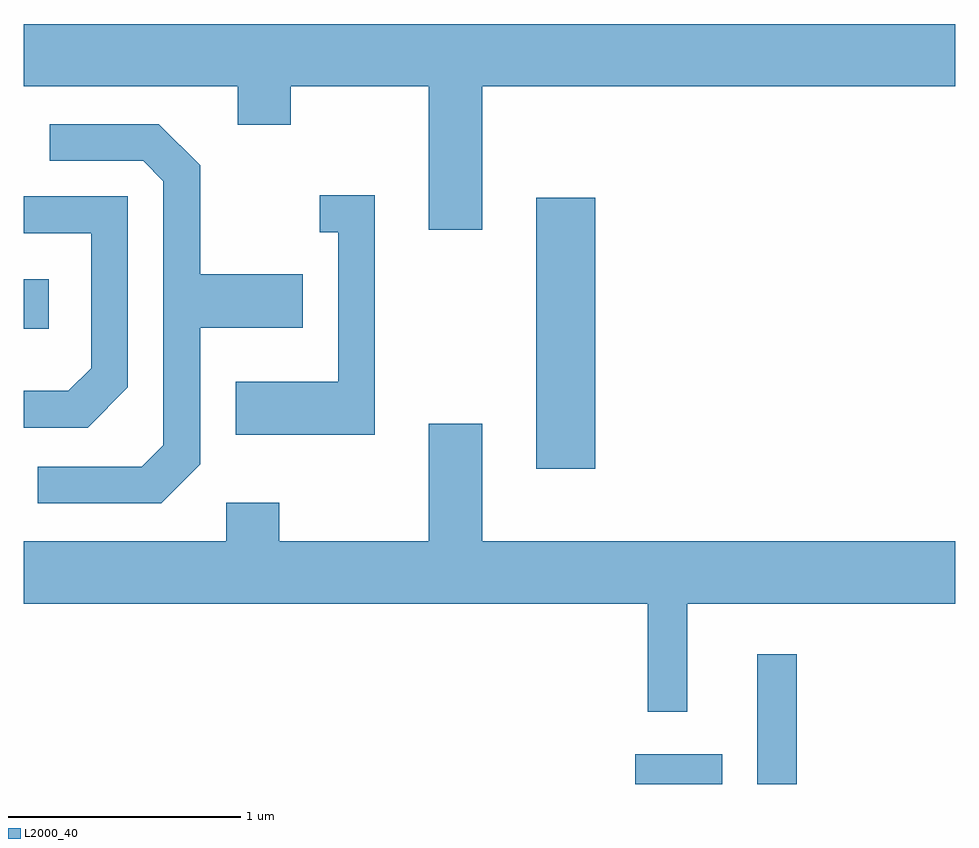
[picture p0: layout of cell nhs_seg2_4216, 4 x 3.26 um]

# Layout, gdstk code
import gdstk
lib = gdstk.Library(unit=1e-6, precision=1e-09)
def R(c, l, rs):  # rectangles x0, y0, x1, y1
    for r in rs: c.add(gdstk.rectangle(r[:2], r[2:], *l))
def P(c, l, *ps):  # polygons
    for p in ps: c.add(gdstk.Polygon(p, *l))
L2000_40 = (2000, 40)

nhs_seg2_4216 = lib.new_cell('nhs_seg2_4216')
R(nhs_seg2_4216, L2000_40, [(312.236,1009.802,312.609,1009.929), (312.761,1009.802,312.929,1010.358), (311.811,1011.156,312.064,1012.319), (309.611,1011.756,309.719,1011.969)])
P(nhs_seg2_4216, L2000_40, [(311.579,1012.796),(313.611,1012.796),(313.611,1013.064),(309.611,1013.064),(309.611,1012.796),(310.531,1012.796),(310.531,1012.631),(310.759,1012.631),(310.759,1012.796),(311.351,1012.796),(311.351,1012.181),(311.579,1012.181)],
  [(310.369,1011.174),(310.369,1011.761),(310.809,1011.761),(310.809,1011.989),(310.369,1011.989),(310.369,1012.457),(310.192,1012.634),(309.723,1012.634),(309.723,1012.476),(310.124,1012.476),(310.211,1012.389),(310.211,1011.257),(310.119,1011.164),(309.673,1011.164),(309.673,1011.006),(310.202,1011.006)],
  [(311.119,1012.329),(310.883,1012.329),(310.883,1012.171),(310.961,1012.171),(310.961,1011.529),(310.521,1011.529),(310.521,1011.301),(311.119,1011.301)],
  [(310.059,1011.504),(310.059,1012.324),(309.611,1012.324),(309.611,1012.166),(309.901,1012.166),(309.901,1011.587),(309.804,1011.489),(309.611,1011.489),(309.611,1011.331),(309.887,1011.331)],
  [(312.459,1010.576),(313.611,1010.576),(313.611,1010.844),(311.579,1010.844),(311.579,1011.349),(311.351,1011.349),(311.351,1010.844),(310.709,1010.844),(310.709,1011.009),(310.481,1011.009),(310.481,1010.844),(309.611,1010.844),(309.611,1010.576),(312.291,1010.576),(312.291,1010.113),(312.459,1010.113)])

lib.write_gds('nhs_seg2_4216.gds')
